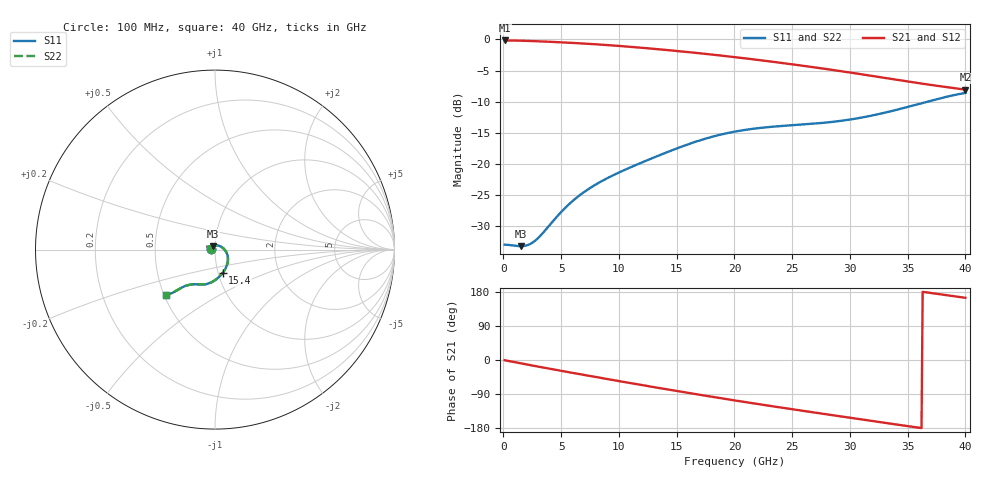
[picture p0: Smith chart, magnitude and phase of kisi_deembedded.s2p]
! D_s8_stitch_1p0: kisi-fdtd, de-embedded with the 2×thru
# Hz S RI R 50
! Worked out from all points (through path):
!   400 points, 100 MHz to 40 GHz, reference 50 ohm
!   highest |S21| = -0.16 dB at 100 MHz (marker M1); lowest = -8.1 dB at 40 GHz (marker M2)
!   group delay of S21, straight-line fit = 13.5 ps
!   lowest |S11| = -33.3 dB at 1.5 GHz (marker M3), VSWR 1.04, Z = 48.7 + j1.7 ohm
!   |S11| at or under -10 dB: start of sweep to 36.72 GHz
!   |S22| runs from -33.3 to -8.6 dB; largest |S21 - S12| = 2.2e-07
!   S11 on the Smith chart (normalised r, x): 100 MHz: 0.96, +0.00; 15.4 GHz: 1.05, -0.28; 40 GHz: 0.51, -0.30
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1e8  -0.0223 0.00133  0.9815 -0.0101  0.9815 -0.0101  -0.0223 0.00133
1.5e9  -0.0129 0.0175  0.9657 -0.15  0.9657 -0.15  -0.0129 0.0175
2.2e9  -0.0035 0.0221  0.9484 -0.2169  0.9484 -0.2169  -0.0035 0.0221
2.8e9  0.00577 0.0236  0.9293 -0.2719  0.9293 -0.2719  0.00577 0.0236
4e9  0.0247 0.0204  0.8813 -0.3749  0.8813 -0.3749  0.0247 0.0204
5.2e9  0.0412 0.0114  0.822 -0.4684  0.822 -0.4684  0.0412 0.0114
6.8e9  0.0573 -0.00528  0.7276 -0.5773  0.7276 -0.5773  0.0573 -0.00528
8.5e9  0.0678 -0.0254  0.6117 -0.6709  0.6117 -0.6709  0.0678 -0.0254
1.01e10  0.0721 -0.0466  0.4926 -0.736  0.4926 -0.736  0.0721 -0.0466
1.17e10  0.0707 -0.0704  0.3688 -0.7786  0.3688 -0.7786  0.0707 -0.0704
1.34e10  0.0619 -0.0981  0.237 -0.8001  0.237 -0.8001  0.0619 -0.0981
1.54e10  0.0425 -0.1302  0.0874 -0.7967  0.0874 -0.7967  0.0425 -0.1302
1.76e10  0.0143 -0.1595  -0.0639 -0.7611  -0.0639 -0.7611  0.0143 -0.1595
2.01e10  -0.0174 -0.181  -0.2108 -0.6878  -0.2108 -0.6878  -0.0174 -0.181
2.17e10  -0.0345 -0.1884  -0.2881 -0.6275  -0.2881 -0.6275  -0.0345 -0.1884
2.34e10  -0.0502 -0.1925  -0.3552 -0.556  -0.3552 -0.556  -0.0502 -0.1925
2.5e10  -0.0642 -0.1938  -0.4047 -0.484  -0.4047 -0.484  -0.0642 -0.1938
2.67e10  -0.0802 -0.1936  -0.4433 -0.405  -0.4433 -0.405  -0.0802 -0.1936
2.99e10  -0.1173 -0.1931  -0.4798 -0.256  -0.4798 -0.256  -0.1173 -0.1931
3.34e10  -0.1663 -0.2031  -0.4729 -0.1051  -0.4729 -0.1051  -0.1663 -0.2031
3.66e10  -0.2149 -0.2289  -0.436 0.0107  -0.436 0.0107  -0.2149 -0.2289
4e10  -0.2731 -0.2515  -0.3796 0.108  -0.3796 0.108  -0.2731 -0.2515
